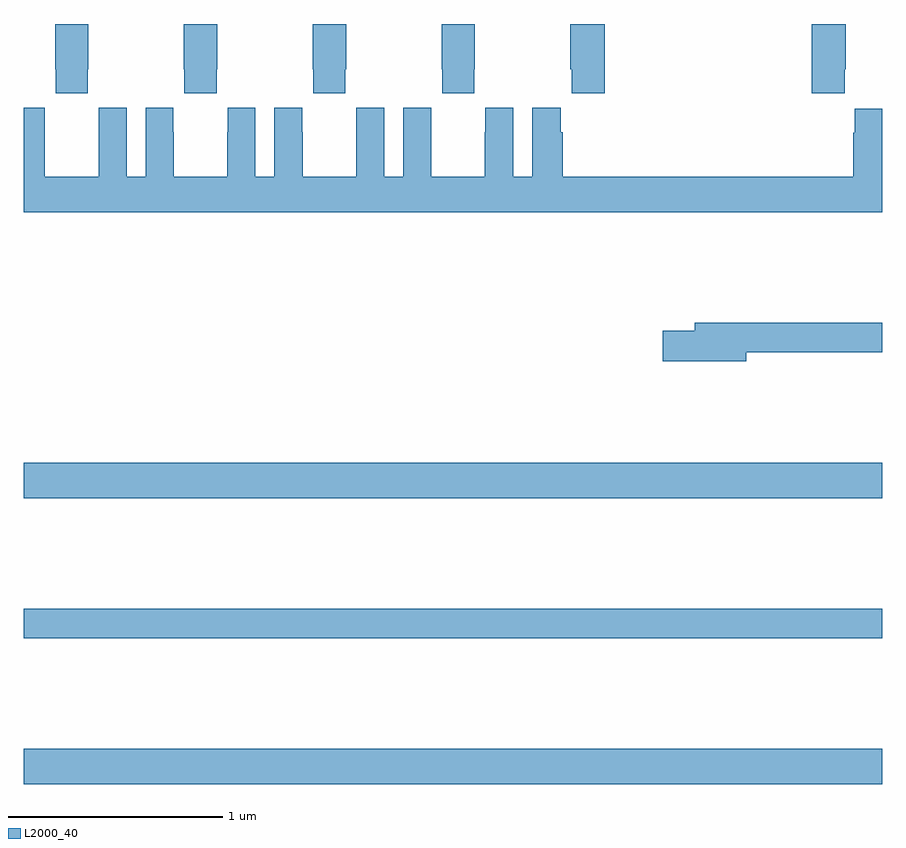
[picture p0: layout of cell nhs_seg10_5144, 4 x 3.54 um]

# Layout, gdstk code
import gdstk
lib = gdstk.Library(unit=1e-6, precision=1e-09)
def R(c, l, rs):  # rectangles x0, y0, x1, y1
    for r in rs: c.add(gdstk.rectangle(r[:2], r[2:], *l))
def P(c, l, *ps):  # polygons
    for p in ps: c.add(gdstk.Polygon(p, *l))
L2000_40 = (2000, 40)

nhs_seg10_5144 = lib.new_cell('nhs_seg10_5144')
R(nhs_seg10_5144, L2000_40, [(409,1322.96,413,1323.124), (409,1323.64,413,1323.776), (409,1324.292,413,1324.456)])
P(nhs_seg10_5144, L2000_40, [(412.825,1326.289),(412.83,1326.289),(412.83,1326.5),(412.67,1326.5),(412.67,1326.177),(412.825,1326.177)],
  [(411.707,1326.5),(411.547,1326.5),(411.547,1326.289),(411.553,1326.289),(411.553,1326.177),(411.707,1326.177)],
  [(411.099,1326.289),(411.102,1326.289),(411.102,1326.5),(410.947,1326.5),(410.947,1326.289),(410.949,1326.289),(410.949,1326.177),(411.099,1326.177)],
  [(410.499,1326.289),(410.502,1326.289),(410.502,1326.5),(410.347,1326.5),(410.347,1326.289),(410.349,1326.289),(410.349,1326.177),(410.499,1326.177)],
  [(409.899,1326.289),(409.902,1326.289),(409.902,1326.5),(409.747,1326.5),(409.747,1326.289),(409.749,1326.289),(409.749,1326.177),(409.899,1326.177)],
  [(409.299,1326.289),(409.302,1326.289),(409.302,1326.5),(409.147,1326.5),(409.147,1326.289),(409.149,1326.289),(409.149,1326.177),(409.299,1326.177)],
  [(413,1326.106),(412.871,1326.106),(412.871,1325.993),(412.865,1325.993),(412.865,1325.788),(411.512,1325.788),(411.512,1325.996),(411.502,1325.996),(411.502,1326.109),(411.368,1326.109),(411.368,1325.788),(411.28,1325.788),(411.28,1326.109),(411.15,1326.109),(411.15,1325.996),(411.149,1325.996),(411.149,1325.788),(410.899,1325.788),(410.899,1325.996),(410.898,1325.996),(410.898,1326.109),(410.768,1326.109),(410.768,1325.788),(410.68,1325.788),(410.68,1326.109),(410.55,1326.109),(410.55,1325.996),(410.549,1325.996),(410.549,1325.788),(410.299,1325.788),(410.299,1325.996),(410.298,1325.996),(410.298,1326.109),(410.168,1326.109),(410.168,1325.788),(410.08,1325.788),(410.08,1326.109),(409.95,1326.109),(409.95,1325.996),(409.949,1325.996),(409.949,1325.788),(409.699,1325.788),(409.699,1325.996),(409.698,1325.996),(409.698,1326.109),(409.568,1326.109),(409.568,1325.788),(409.48,1325.788),(409.48,1326.109),(409.35,1326.109),(409.35,1325.996),(409.349,1325.996),(409.349,1325.788),(409.099,1325.788),(409.099,1325.996),(409.098,1325.996),(409.098,1326.109),(409,1326.109),(409,1325.624),(413,1325.624)],
  [(412.366,1324.972),(413,1324.972),(413,1325.108),(412.127,1325.108),(412.127,1325.072),(411.978,1325.072),(411.978,1324.93),(412.366,1324.93)])

lib.write_gds('nhs_seg10_5144.gds')
